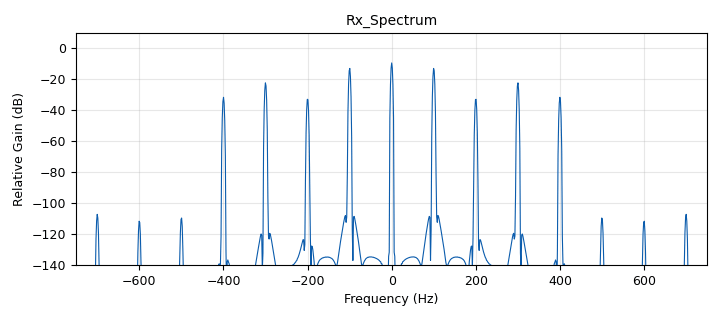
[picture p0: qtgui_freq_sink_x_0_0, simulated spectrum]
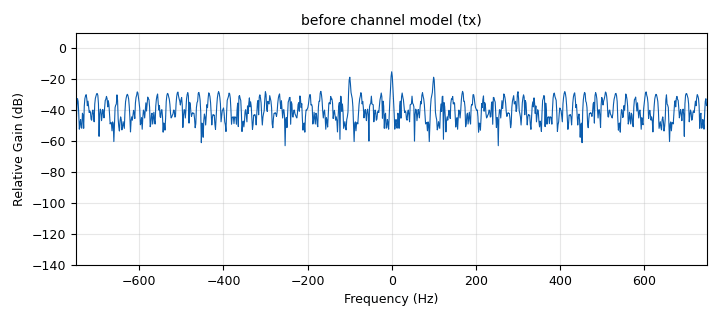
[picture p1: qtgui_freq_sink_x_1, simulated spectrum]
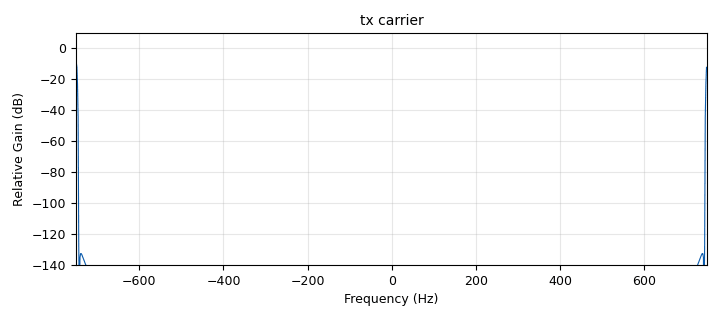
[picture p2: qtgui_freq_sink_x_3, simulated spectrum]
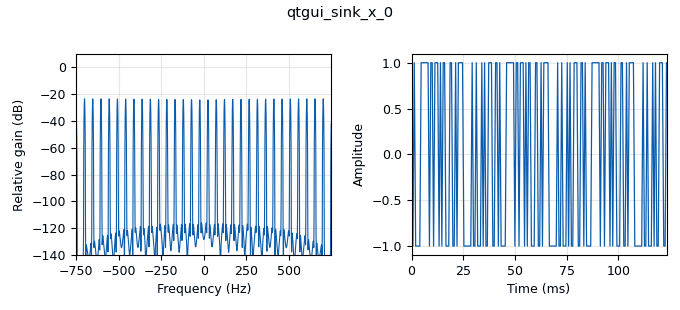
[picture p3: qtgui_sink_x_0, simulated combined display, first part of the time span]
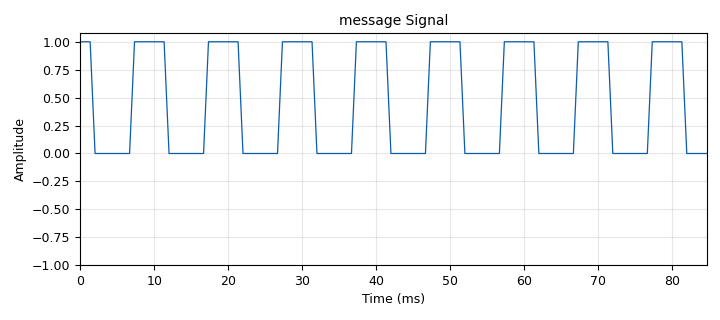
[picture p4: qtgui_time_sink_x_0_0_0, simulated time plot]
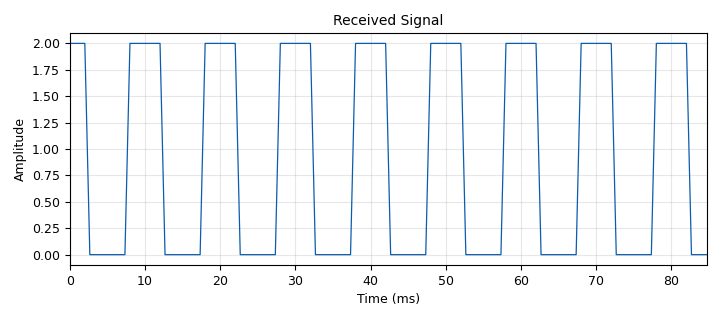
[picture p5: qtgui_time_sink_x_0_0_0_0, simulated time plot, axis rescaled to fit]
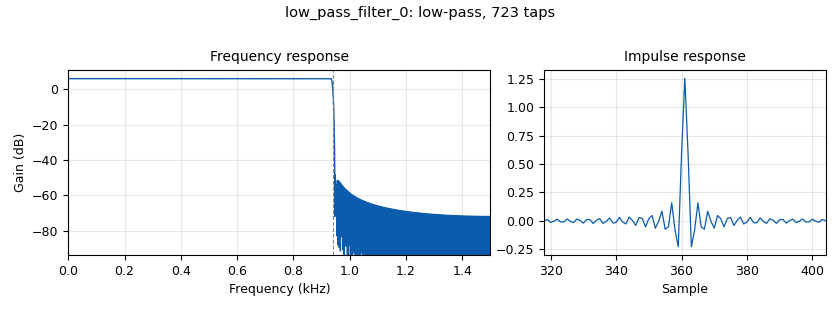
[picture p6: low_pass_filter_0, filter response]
options:
  parameters:
    generate_options: qt_gui
    id: dsss
    output_language: python
    title: DSSS_Block
  states: {}

blocks:
- name: samp_rate
  id: variable
  parameters:
    value: '1500'
  states: {}
- name: variable_qtgui_range_0
  id: variable_qtgui_range
  parameters:
    label: fast multiply
    outputmsgname: value
    showports: 'False'
    start: '0'
    step: '1'
    stop: '1000'
    value: '1'
  states: {}
- name: variable_qtgui_range_0_0
  id: variable_qtgui_range
  parameters:
    label: noise
    outputmsgname: value
    showports: 'False'
    start: '0'
    step: '0.001'
    stop: '1'
    value: '0'
  states: {}
- name: analog_sig_source_x_0
  id: analog_sig_source_x
  parameters:
    amp: variable_qtgui_range_0
    freq: '100'
    offset: '0'
    phase: '0'
    samp_rate: samp_rate
    type: float
    waveform: analog.GR_SQR_WAVE
  states: {}
- name: analog_sig_source_x_0_0
  id: analog_sig_source_x
  parameters:
    amp: '1'
    freq: '750'
    offset: '0'
    phase: '0'
    samp_rate: samp_rate
    type: float
    waveform: analog.GR_COS_WAVE
  states: {}
- name: analog_sig_source_x_0_0_0
  id: analog_sig_source_x
  parameters:
    amp: '1'
    freq: '750'
    offset: '0'
    phase: '0'
    samp_rate: samp_rate
    type: float
    waveform: analog.GR_COS_WAVE
  states: {}
- name: analog_sig_source_x_0_0_1
  id: analog_sig_source_x
  parameters:
    amp: '2'
    freq: '750'
    offset: '0'
    phase: '30'
    samp_rate: samp_rate
    type: complex
    waveform: analog.GR_COS_WAVE
  states: {state: disabled}
- name: blocks_add_xx_0
  id: blocks_add_xx
  parameters:
    type: complex
  states: {state: disabled}
- name: blocks_complex_to_float_0
  id: blocks_complex_to_float
  parameters: {}
  states: {}
- name: blocks_delay_0
  id: blocks_delay
  parameters:
    delay: '3'
    type: complex
  states: {}
- name: blocks_file_sink_0
  id: blocks_file_sink
  parameters:
    file: C:\Users\abhilash\Pictures\Camera Roll\New Text Document.txt
    type: float
  states: {}
- name: blocks_file_sink_1
  id: blocks_file_sink
  parameters:
    file: C:\Users\abhilash\Pictures\Camera Roll\New Text Document (2).txt
    type: float
  states: {}
- name: blocks_float_to_char_0
  id: blocks_float_to_char
  parameters:
    scale: '1'
  states: {}
- name: blocks_float_to_char_1
  id: blocks_float_to_char
  parameters:
    scale: '1'
  states: {}
- name: blocks_float_to_complex_0
  id: blocks_float_to_complex
  parameters: {}
  states: {}
- name: blocks_float_to_int_0
  id: blocks_float_to_int
  parameters:
    scale: '1'
  states: {}
- name: blocks_float_to_int_0_0
  id: blocks_float_to_int
  parameters:
    scale: '1'
  states: {}
- name: blocks_float_to_int_0_1
  id: blocks_float_to_int
  parameters:
    scale: '1'
  states: {}
- name: blocks_float_to_int_0_2
  id: blocks_float_to_int
  parameters:
    scale: '1'
  states: {}
- name: blocks_float_to_int_1
  id: blocks_float_to_int
  parameters:
    scale: '1'
  states: {}
- name: blocks_int_to_float_0
  id: blocks_int_to_float
  parameters:
    scale: '1'
  states: {}
- name: blocks_int_to_float_0_0
  id: blocks_int_to_float
  parameters:
    scale: '1'
  states: {}
- name: blocks_int_to_float_1
  id: blocks_int_to_float
  parameters:
    scale: '1'
  states: {}
- name: blocks_multiply_xx_0
  id: blocks_multiply_xx
  parameters:
    type: float
  states: {}
- name: blocks_multiply_xx_0_0
  id: blocks_multiply_xx
  parameters:
    type: float
  states: {}
- name: blocks_throttle_0
  id: blocks_throttle
  parameters:
    samples_per_second: samp_rate
    type: float
  states: {}
- name: blocks_xor_xx_0_0_0
  id: blocks_xor_xx
  parameters:
    type: int
  states: {}
- name: blocks_xor_xx_0_0_0_0
  id: blocks_xor_xx
  parameters:
    type: int
  states: {}
- name: channels_channel_model_0
  id: channels_channel_model
  parameters:
    epsilon: '1.0'
    freq_offset: '0'
    noise_voltage: '0.0'
    seed: '0'
    taps: '1'
  states: {state: disabled}
- name: channels_channel_model_1
  id: channels_channel_model
  parameters:
    epsilon: '1.0'
    freq_offset: '0.0'
    noise_voltage: variable_qtgui_range_0_0
    seed: '0'
    taps: (1.0 + 0j)
  states: {}
- name: digital_glfsr_source_x_0
  id: digital_glfsr_source_x
  parameters:
    degree: '8'
    mask: '100'
    repeat: 'True'
    seed: '1'
    type: float
  states: {}
- name: digital_glfsr_source_x_0_0
  id: digital_glfsr_source_x
  parameters:
    degree: '8'
    mask: '100'
    repeat: 'True'
    seed: '1'
    type: float
  states: {}
- name: digital_probe_mpsk_snr_est_c_0
  id: digital_probe_mpsk_snr_est_c
  parameters:
    alpha: '0.001'
    msg_nsamples: '10000'
    type: '0'
  states: {}
- name: epy_block_1_0
  id: epy_block
  parameters:
    _source_code: |
      """
      Embedded Python Blocks:

      Each time this file is saved, GRC will instantiate the first class it finds
      to get ports and parameters of your block. The arguments to __init__  will
      be the parameters. All of them are required to have default values!
      """

      import numpy as np
      from gnuradio import gr
      import pmt
      from gnuradio import grc

      class blk(gr.sync_block):  # other base classes are basic_block, decim_block, interp_block
          """Embedded Python Block example - a simple multiply const"""

          def __init__(self):  # only default arguments here
              """arguments to this function show up as parameters in GRC"""
              gr.sync_block.__init__(
                  self,
                  name='datatypeconversion',   # will show up in GRC
                  in_sig=None,
                  out_sig=[np.float32]
              )
              # if an attribute with the same name as a parameter is found,
              # a callback is registered (properties work, too).
              self.selectPortName = 'snr'
              self.message_port_register_in(pmt.intern(self.selectPortName))
              self.set_msg_handler(pmt.intern(self.selectPortName), self.handle_msg)
              self.snr=0
              #print(222)
          def handle_msg(self,msg):
              self.snr=pmt.to_float(msg)
              #print(22)
              
          def work(self, input_items, output_items):
              """example: multiply with constant"""
              #print(2)
              output_items[0][:] = self.snr 
              return len(output_items[0])
  states: {}
- name: fec_ber_bf_0
  id: fec_ber_bf
  parameters:
    test_mode: 'False'
  states: {}
- name: low_pass_filter_0
  id: low_pass_filter
  parameters:
    beta: '5.00'
    cutoff_freq: '940'
    gain: '2'
    interp: '1'
    samp_rate: '3000'
    type: interp_fir_filter_fff
    width: '10'
    win: window.WIN_HAMMING
  states: {}
- name: qtgui_freq_sink_x_0_0
  id: qtgui_freq_sink_x
  parameters:
    bw: samp_rate
    fc: '0'
    fftsize: '1024'
    name: '"Rx_Spectrum"'
    type: float
  states: {}
- name: qtgui_freq_sink_x_1
  id: qtgui_freq_sink_x
  parameters:
    bw: samp_rate
    fc: '0'
    fftsize: '1024'
    name: '"before channel model (tx)"'
    type: float
  states: {}
- name: qtgui_freq_sink_x_2
  id: qtgui_freq_sink_x
  parameters:
    bw: samp_rate
    fc: '0'
    fftsize: '1024'
    name: jammer spectrum
    type: complex
  states: {state: disabled}
- name: qtgui_freq_sink_x_3
  id: qtgui_freq_sink_x
  parameters:
    bw: samp_rate
    fc: '0'
    fftsize: '1024'
    name: tx carrier
    type: float
  states: {}
- name: qtgui_number_sink_0
  id: qtgui_number_sink
  parameters:
    graph_type: qtgui.NUM_GRAPH_HORIZ
    name: '"ber"'
    type: float
  states: {}
- name: qtgui_number_sink_0_0
  id: qtgui_number_sink
  parameters:
    color1: ("blue", "red")
    graph_type: qtgui.NUM_GRAPH_HORIZ
    label1: 'SNR '
    max: '30'
    min: '0'
    name: reciver snr
    type: float
    unit1: dB
  states: {}
- name: qtgui_sink_x_0
  id: qtgui_sink_x
  parameters:
    bw: samp_rate
    fc: '0'
    fftsize: '1024'
    type: float
  states: {}
- name: qtgui_time_sink_x_0_0_0
  id: qtgui_time_sink_x
  parameters:
    ctrlpanel: 'True'
    name: message Signal
    size: '128'
    srate: samp_rate
    type: float
  states: {}
- name: qtgui_time_sink_x_0_0_0_0
  id: qtgui_time_sink_x
  parameters:
    ctrlpanel: 'True'
    name: Received Signal
    size: '128'
    srate: samp_rate
    type: float
  states: {}

connections:
- [analog_sig_source_x_0, '0', blocks_file_sink_0, '0']
- [analog_sig_source_x_0, '0', blocks_float_to_char_1, '0']
- [analog_sig_source_x_0, '0', blocks_throttle_0, '0']
- [analog_sig_source_x_0_0, '0', blocks_multiply_xx_0, '1']
- [analog_sig_source_x_0_0, '0', qtgui_freq_sink_x_3, '0']
- [analog_sig_source_x_0_0_0, '0', blocks_multiply_xx_0_0, '0']
- [analog_sig_source_x_0_0_1, '0', blocks_add_xx_0, '1']
- [analog_sig_source_x_0_0_1, '0', qtgui_freq_sink_x_2, '0']
- [blocks_add_xx_0, '0', channels_channel_model_0, '0']
- [blocks_add_xx_0, '0', channels_channel_model_1, '0']
- [blocks_complex_to_float_0, '0', blocks_float_to_int_0_1, '0']
- [blocks_delay_0, '0', blocks_complex_to_float_0, '0']
- [blocks_delay_0, '0', digital_probe_mpsk_snr_est_c_0, '0']
- [blocks_float_to_char_0, '0', fec_ber_bf_0, '1']
- [blocks_float_to_char_1, '0', fec_ber_bf_0, '0']
- [blocks_float_to_complex_0, '0', blocks_add_xx_0, '0']
- [blocks_float_to_complex_0, '0', channels_channel_model_1, '0']
- [blocks_float_to_int_0, '0', blocks_xor_xx_0_0_0, '0']
- [blocks_float_to_int_0_0, '0', blocks_xor_xx_0_0_0, '1']
- [blocks_float_to_int_0_1, '0', blocks_xor_xx_0_0_0_0, '0']
- [blocks_float_to_int_0_2, '0', blocks_xor_xx_0_0_0_0, '1']
- [blocks_float_to_int_1, '0', blocks_int_to_float_1, '0']
- [blocks_int_to_float_0, '0', blocks_float_to_complex_0, '0']
- [blocks_int_to_float_0, '0', qtgui_freq_sink_x_1, '0']
- [blocks_int_to_float_0_0, '0', blocks_multiply_xx_0_0, '1']
- [blocks_int_to_float_1, '0', blocks_file_sink_1, '0']
- [blocks_int_to_float_1, '0', blocks_float_to_char_0, '0']
- [blocks_int_to_float_1, '0', qtgui_time_sink_x_0_0_0_0, '0']
- [blocks_multiply_xx_0, '0', blocks_float_to_int_0, '0']
- [blocks_multiply_xx_0_0, '0', low_pass_filter_0, '0']
- [blocks_throttle_0, '0', blocks_multiply_xx_0, '0']
- [blocks_throttle_0, '0', qtgui_time_sink_x_0_0_0, '0']
- [blocks_xor_xx_0_0_0, '0', blocks_int_to_float_0, '0']
- [blocks_xor_xx_0_0_0_0, '0', blocks_int_to_float_0_0, '0']
- [channels_channel_model_0, '0', blocks_delay_0, '0']
- [channels_channel_model_1, '0', blocks_delay_0, '0']
- [digital_glfsr_source_x_0, '0', blocks_float_to_int_0_0, '0']
- [digital_glfsr_source_x_0, '0', qtgui_sink_x_0, '0']
- [digital_glfsr_source_x_0_0, '0', blocks_float_to_int_0_2, '0']
- [digital_probe_mpsk_snr_est_c_0, snr, epy_block_1_0, snr]
- [epy_block_1_0, '0', qtgui_number_sink_0_0, '0']
- [fec_ber_bf_0, '0', qtgui_number_sink_0, '0']
- [low_pass_filter_0, '0', blocks_float_to_int_1, '0']
- [low_pass_filter_0, '0', qtgui_freq_sink_x_0_0, '0']

metadata:
  file_format: 1
  grc_version: 3.10.4.0
